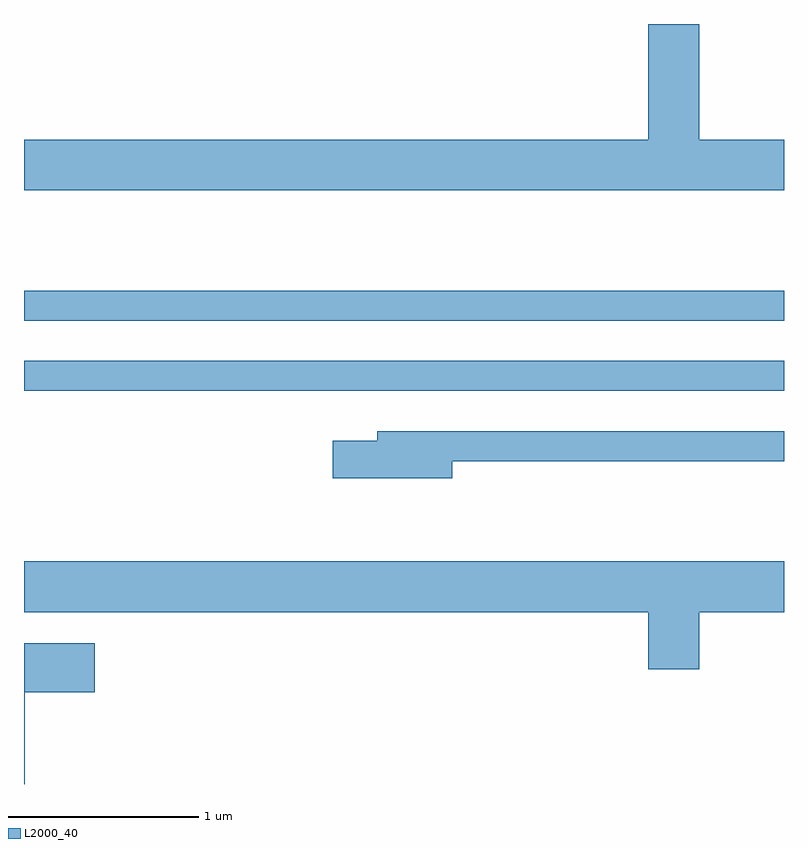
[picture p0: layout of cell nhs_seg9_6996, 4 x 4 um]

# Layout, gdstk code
import gdstk
lib = gdstk.Library(unit=1e-6, precision=1e-09)
def R(c, l, rs):  # rectangles x0, y0, x1, y1
    for r in rs: c.add(gdstk.rectangle(r[:2], r[2:], *l))
def P(c, l, *ps):  # polygons
    for p in ps: c.add(gdstk.Polygon(p, *l))
L2000_40 = (2000, 40)

nhs_seg9_6996 = lib.new_cell('nhs_seg9_6996')
R(nhs_seg9_6996, L2000_40, [(391.611,2028.501,395.611,2028.659), (391.611,2028.871,395.611,2029.029)])
P(nhs_seg9_6996, L2000_40, [(395.611,2029.824),(395.164,2029.824),(395.164,2030.432),(394.896,2030.432),(394.896,2029.824),(391.611,2029.824),(391.611,2029.556),(395.611,2029.556)],
  [(393.864,2028.131),(395.611,2028.131),(395.611,2028.289),(393.471,2028.289),(393.471,2028.239),(393.236,2028.239),(393.236,2028.041),(393.864,2028.041)],
  [(395.164,2027.336),(395.611,2027.336),(395.611,2027.604),(391.611,2027.604),(391.611,2027.336),(394.896,2027.336),(394.896,2027.036),(395.164,2027.036)],
  [(391.614,2026.916),(391.984,2026.916),(391.984,2027.174),(391.611,2027.174),(391.611,2026.432),(391.614,2026.432)])

lib.write_gds('nhs_seg9_6996.gds')
